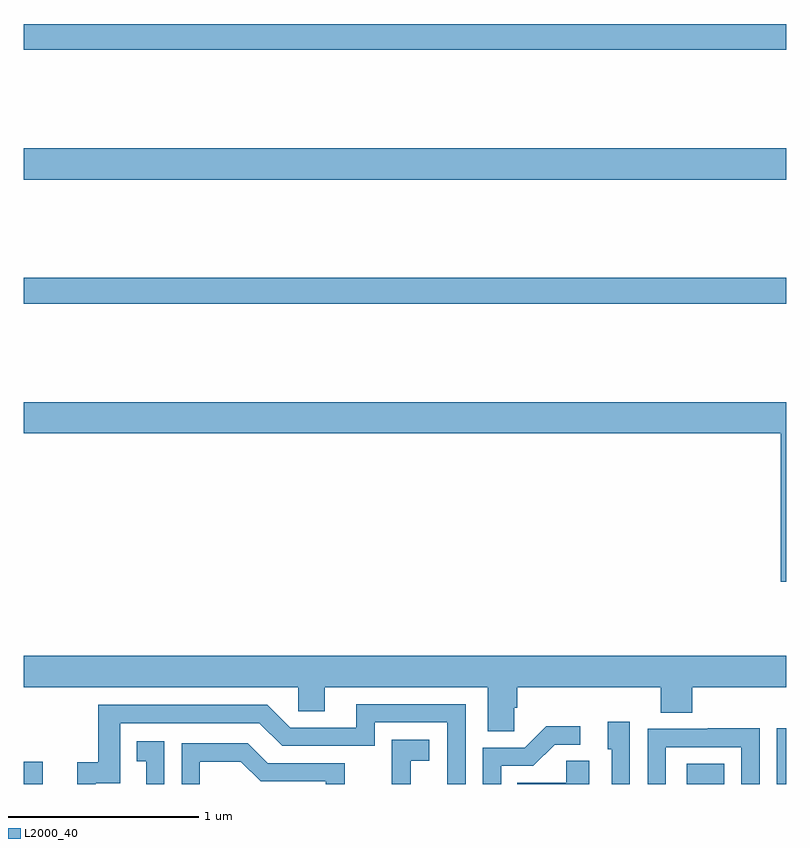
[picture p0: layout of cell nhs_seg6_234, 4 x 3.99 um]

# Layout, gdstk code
import gdstk
lib = gdstk.Library(unit=1e-6, precision=1e-09)
def R(c, l, rs):  # rectangles x0, y0, x1, y1
    for r in rs: c.add(gdstk.rectangle(r[:2], r[2:], *l))
def P(c, l, *ps):  # polygons
    for p in ps: c.add(gdstk.Polygon(p, *l))
L2000_40 = (2000, 40)

nhs_seg6_234 = lib.new_cell('nhs_seg6_234')
R(nhs_seg6_234, L2000_40, [(123,941.5,123.1,941.617), (126.479,941.5,126.676,941.605), (126.951,941.5,127,941.792), (123,944.02,127,944.156), (123,944.672,127,944.836), (123,945.352,127,945.488)])
P(nhs_seg6_234, L2000_40, [(127,943.504),(123,943.504),(123,943.34),(126.971,943.34),(126.971,942.561),(127,942.561)],
  [(125.574,941.899),(125.588,941.899),(125.588,942.008),(126.341,942.008),(126.341,941.875),(126.506,941.875),(126.506,942.008),(127,942.008),(127,942.172),(123,942.172),(123,942.008),(124.44,942.008),(124.44,941.881),(124.579,941.881),(124.579,942.008),(125.435,942.008),(125.435,941.776),(125.574,941.776)],
  [(123.378,941.505),(123.507,941.505),(123.507,941.82),(124.236,941.82),(124.356,941.7),(124.842,941.7),(124.842,941.823),(125.223,941.823),(125.223,941.5),(125.319,941.5),(125.319,941.919),(124.745,941.919),(124.745,941.796),(124.398,941.796),(124.278,941.916),(123.391,941.916),(123.391,941.614),(123.281,941.614),(123.281,941.5),(123.378,941.5)],
  [(126.18,941.827),(126.065,941.827),(126.065,941.682),(126.084,941.682),(126.084,941.5),(126.18,941.5)],
  [(125.505,941.595),(125.674,941.595),(125.785,941.706),(125.92,941.706),(125.92,941.804),(125.741,941.804),(125.628,941.691),(125.409,941.691),(125.409,941.5),(125.505,941.5)],
  [(126.369,941.694),(126.765,941.694),(126.765,941.5),(126.861,941.5),(126.861,941.792),(126.589,941.792),(126.589,941.79),(126.273,941.79),(126.273,941.5),(126.369,941.5)],
  [(125.03,941.621),(125.128,941.621),(125.128,941.731),(124.93,941.731),(124.93,941.525),(124.931,941.525),(124.931,941.5),(125.03,941.5)],
  [(123.738,941.725),(123.592,941.725),(123.592,941.619),(123.641,941.619),(123.641,941.5),(123.738,941.5)],
  [(123.924,941.618),(124.138,941.618),(124.242,941.514),(124.584,941.514),(124.584,941.5),(124.683,941.5),(124.683,941.61),(124.279,941.61),(124.174,941.715),(123.828,941.715),(123.828,941.5),(123.924,941.5)],
  [(125.968,941.621),(125.847,941.621),(125.847,941.506),(125.59,941.506),(125.59,941.5),(125.968,941.5)])

lib.write_gds('nhs_seg6_234.gds')
